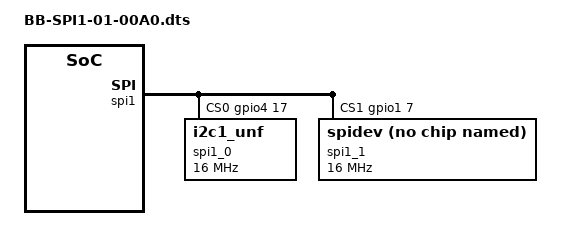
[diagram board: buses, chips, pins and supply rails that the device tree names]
/dts-v1/;
/plugin/;

/ {
    compatible = "ti,beaglebone", "ti,beaglebone-black";

    /* identification */
    part-number = "BB-I2C1-UNF";

    /* version */
    version = "00A0";

    /* state the resources this cape uses */
    exclusive-use =
        /* the pin header uses */
        "P9.24", // I2C1_SCL
        "P9.26", // I2C1_SDA
        /* the hardware ip */
        "i2c1";

    fragment@0 {
        target = <&am33xx_pinmux>;
        __overlay__ {
            bb_i2c2_unf: pinmux_bb_i2c2_unf_pins {
                pinctrl-single,pins = <                                        
                    0x184 0x13    /* P9_24 = i2c1_scl, OUTPUT_PULLUP | MODE3 */
                    0x180 0x33    /* P9_26 = i2c1_sda, INPUT_PULLUP  | MODE3 */
                >;
            };
        };
    };

    fragment@1 {
        target = <&spi1>;
        __overlay__ {
            #address-cells     = <1>;
            #size-cells     = <0>;
            status            = "okay";
            pinctrl-names    = "default";
            pinctrl-0        = <&bb_i2c2_unf>;    
            cs-gpios         = <&gpio4 17 0>, <&gpio1 7 0>;

            spi1_0{
                #address-cells       = <1>;
                #size-cells       = <0>;
                compatible           = "i2c1_unf";
                reg               = <0>;
                spi-max-frequency = <16000000>;
                spi-cpha;          
            };
            spi1_1{
                #address-cells       = <1>;
                #size-cells       = <0>;
                compatible           = "spidev";
                reg               = <1>;
                spi-max-frequency = <16000000>;
                // Mode 0 (CPOL = 0, CPHA = 0)
            };
        };
    };
};
